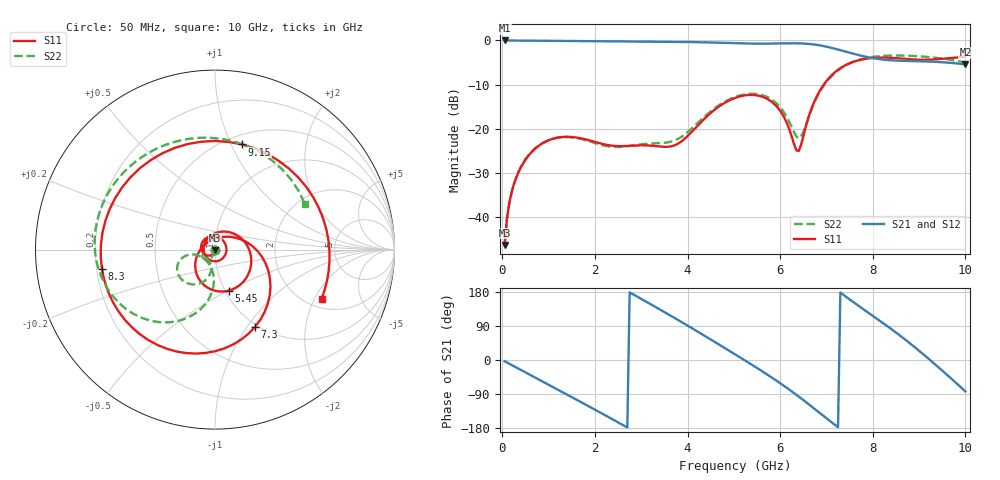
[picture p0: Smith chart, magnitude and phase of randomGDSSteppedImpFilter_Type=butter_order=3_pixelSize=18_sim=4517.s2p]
! freq	dB(S11)	phase(S11)	dB(S12)	phase(S12)
!  dB(S21)	phase(S21)	dB(S22)	phase(S22)
!S-par simulation data
#  GHz  S  DB  R 50
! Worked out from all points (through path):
!   200 points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, 50 MHz to 10 GHz, reference 50 ohm
!   highest |S21| = 0.00 dB at 50 MHz (marker M1); lowest = -5.4 dB at 10 GHz (marker M2)
!   group delay of S21, straight-line fit = 220 ps
!   lowest |S11| = -46.2 dB at 50 MHz (marker M3), VSWR 1.01, Z = 50 - j0.486 ohm
!   |S11| at or under -10 dB: start of sweep to 6.941 GHz
!   |S22| runs from -46.5 to -3.4 dB; largest |S21 - S12| = 0
!   S11 on the Smith chart (normalised r, x): 50 MHz: 1.00, -0.01; 5.45 GHz: 1.04, -0.51; 7.3 GHz: 0.96, -1.09; 8.3 GHz: 0.22, -0.08; 9.15 GHz: 0.60, +1.10; 10 GHz: 2.39, -2.28
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0.05  -46.24 -94.0  -0.00 -3.3  -0.00 -3.3  -46.51 -92.1
0.2  -34.37 -106.1  -0.02 -13.1  -0.02 -13.1  -34.46 -98.6
0.5  -26.98 -132.5  -0.06 -32.7  -0.06 -32.7  -26.83 -113.5
1.15  -22.06 168.9  -0.12 -75.0  -0.12 -75.0  -22.09 -140.7
1.75  -22.25 105.2  -0.16 -114.4  -0.16 -114.4  -22.41 -155.9
2.6  -23.89 -17.3  -0.22 -171.3  -0.22 -171.3  -24.02 -143.5
3.4  -23.98 -142.0  -0.29 133.6  -0.29 133.6  -23.22 -127.8
4.2  -19.46 69.9  -0.39 76.3  -0.39 76.3  -18.84 -100.9
5.05  -12.90 -31.3  -0.64 13.2  -0.64 13.2  -12.68 -123.6
5.45  -12.35 -71.3  -0.73 -17.2  -0.73 -17.2  -12.07 -142.9
5.95  -15.22 -125.5  -0.68 -56.9  -0.68 -56.9  -14.52 -165.9
6.4  -25.00 107.7  -0.65 -96.4  -0.65 -96.4  -22.13 -133.6
6.7  -14.77 12.9  -0.87 -124.8  -0.87 -124.8  -14.98 -92.0
7  -9.17 -28.2  -1.41 -153.8  -1.41 -153.8  -9.41 -103.3
7.3  -6.27 -62.8  -2.21 178.0  -2.21 178.0  -6.39 -122.4
7.8  -4.23 -115.9  -3.58 133.7  -3.58 133.7  -4.11 -154.5
8.3  -3.89 -170.4  -4.40 90.6  -4.40 90.6  -3.45 176.0
8.35  -3.90 -176.2  -4.45 86.2  -4.45 86.2  -3.43 173.2
8.8  -4.24 125.7  -4.65 44.3  -4.65 44.3  -3.47 146.8
9.15  -4.36 75.6  -4.74 9.0  -4.74 9.0  -3.70 123.3
9.55  -4.11 22.0  -4.96 -33.2  -4.96 -33.2  -4.16 87.8
10  -3.69 -24.8  -5.42 -83.1  -5.42 -83.1  -5.00 26.7
